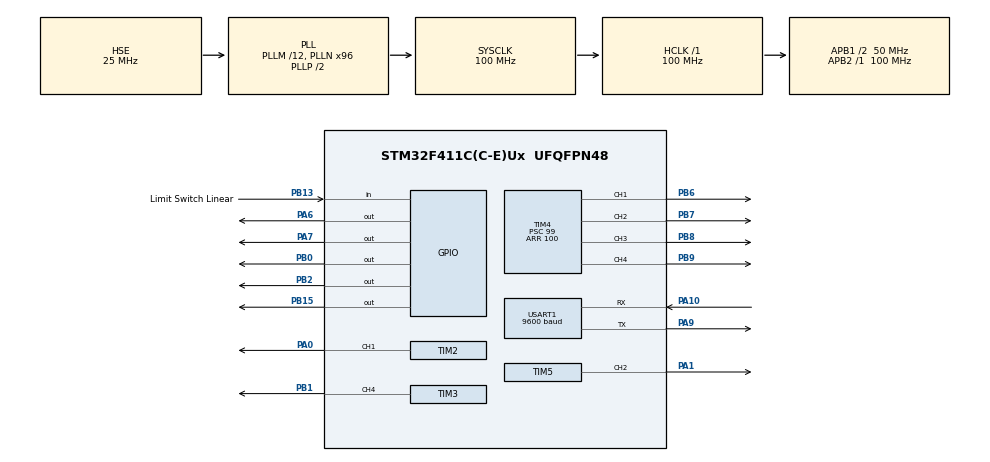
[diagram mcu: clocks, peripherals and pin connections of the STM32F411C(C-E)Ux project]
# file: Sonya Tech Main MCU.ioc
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Dma.Request0=USART1_RX
Dma.USART1_RX.0.Direction=DMA_PERIPH_TO_MEMORY
Dma.USART1_RX.0.FIFOMode=DMA_FIFOMODE_DISABLE
Dma.USART1_RX.0.Instance=DMA2_Stream2
Dma.USART1_RX.0.MemDataAlignment=DMA_MDATAALIGN_BYTE
Dma.USART1_RX.0.MemInc=DMA_MINC_ENABLE
Dma.USART1_RX.0.Mode=DMA_NORMAL
Dma.USART1_RX.0.PeriphDataAlignment=DMA_PDATAALIGN_BYTE
Dma.USART1_RX.0.PeriphInc=DMA_PINC_DISABLE
Dma.USART1_RX.0.Priority=DMA_PRIORITY_LOW
FREERTOS.Tasks01=defaultTask,0,128,StartDefaultTask,Default,NULL,Dynamic,NULL,NULL;LinearMotorTask,0,128,LinearMotor,Default,NULL,Dynamic,NULL,NULL;TopPanTask,0,128,TopPan,Default,NULL,Dynamic,NULL,NULL;PanTiltTask,0,128,PanTilt,Default,NULL,Dynamic,NULL,NULL;MainTask,0,128,Main,Default,NULL,Dynamic,NULL,NULL;MenuComm,0,128,MenuCommFunc,Default,NULL,Dynamic,NULL,NULL
FREERTOS.configUSE_NEWLIB_REENTRANT=1
Mcu.Family=STM32F4
Mcu.Name=STM32F411C(C-E)Ux
Mcu.Package=UFQFPN48
NVIC.DMA2_Stream2_IRQn=true\:5\:0\:false\:false\:true\:true\:false\:true\:true
NVIC.PriorityGroup=NVIC_PRIORITYGROUP_4
NVIC.TIM1_BRK_TIM9_IRQn=true\:15\:0\:false\:false\:true\:false\:false\:true\:true
NVIC.TimeBase=TIM1_BRK_TIM9_IRQn
NVIC.TimeBaseIP=TIM9
PA0-WKUP.Signal=S_TIM2_CH1_ETR
PA1.Signal=S_TIM5_CH2
PA10.Mode=Asynchronous
PA10.Signal=USART1_RX
PA13.Mode=Serial_Wire
PA13.Signal=SYS_JTMS-SWDIO
PA14.Mode=Serial_Wire
PA14.Signal=SYS_JTCK-SWCLK
PA6.Signal=GPIO_Output
PA7.GPIO_PuPd=GPIO_PULLDOWN
PA7.Signal=GPIO_Output
PA9.Mode=Asynchronous
PA9.Signal=USART1_TX
PB0.Signal=GPIO_Output
PB1.Signal=S_TIM3_CH4
PB13.GPIO_Label=Limit Switch Linear
PB13.GPIO_PuPd=GPIO_PULLDOWN
PB13.Signal=GPIO_Input
PB15.Signal=GPIO_Output
PB2.GPIO_PuPd=GPIO_PULLDOWN
PB2.Signal=GPIO_Output
PB6.Signal=S_TIM4_CH1
PB7.Signal=S_TIM4_CH2
PB8.Signal=S_TIM4_CH3
PB9.Signal=S_TIM4_CH4
PC14-OSC32_IN.Mode=LSE-External-Oscillator
PC14-OSC32_IN.Signal=RCC_OSC32_IN
PC15-OSC32_OUT.Mode=LSE-External-Oscillator
PC15-OSC32_OUT.Signal=RCC_OSC32_OUT
PH0\ -\ OSC_IN.Mode=HSE-External-Oscillator
PH0\ -\ OSC_IN.Signal=RCC_OSC_IN
PH1\ -\ OSC_OUT.Mode=HSE-External-Oscillator
PH1\ -\ OSC_OUT.Signal=RCC_OSC_OUT
ProjectManager.HeapSize=0x200
ProjectManager.StackSize=0x400
ProjectManager.TargetToolchain=STM32CubeIDE
RCC.48MHZClocksFreq_Value=50000000
RCC.AHBFreq_Value=100000000
RCC.APB1CLKDivider=RCC_HCLK_DIV2
RCC.APB1Freq_Value=50000000
RCC.APB1TimFreq_Value=100000000
RCC.APB2Freq_Value=100000000
RCC.APB2TimFreq_Value=100000000
RCC.CortexFreq_Value=100000000
RCC.HCLKFreq_Value=100000000
RCC.HSE_VALUE=25000000
RCC.HSI_VALUE=16000000
RCC.PLLM=12
RCC.PLLN=96
RCC.PLLSourceVirtual=RCC_PLLSOURCE_HSE
RCC.SYSCLKFreq_VALUE=100000000
RCC.SYSCLKSource=RCC_SYSCLKSOURCE_PLLCLK
RCC.VCOOutputFreq_Value=200000000
SH.S_TIM2_CH1_ETR.0=TIM2_CH1,PWM Generation1 CH1
SH.S_TIM3_CH4.0=TIM3_CH4,PWM Generation4 CH4
SH.S_TIM4_CH1.0=TIM4_CH1,PWM Generation1 CH1
SH.S_TIM4_CH2.0=TIM4_CH2,PWM Generation2 CH2
SH.S_TIM4_CH3.0=TIM4_CH3,PWM Generation3 CH3
SH.S_TIM4_CH4.0=TIM4_CH4,PWM Generation4 CH4
SH.S_TIM5_CH2.0=TIM5_CH2,PWM Generation2 CH2
TIM1.Period=65535
TIM1.Prescaler=99
TIM2.Channel-PWM\ Generation1\ CH1=TIM_CHANNEL_1
TIM2.Period=100
TIM2.Prescaler=99
TIM3.Channel-PWM\ Generation4\ CH4=TIM_CHANNEL_4
TIM3.Period=100
TIM3.Prescaler=99
TIM4.Channel-PWM\ Generation1\ CH1=TIM_CHANNEL_1
TIM4.Channel-PWM\ Generation2\ CH2=TIM_CHANNEL_2
TIM4.Channel-PWM\ Generation3\ CH3=TIM_CHANNEL_3
TIM4.Channel-PWM\ Generation4\ CH4=TIM_CHANNEL_4
TIM4.Period=100
TIM4.Prescaler=99
TIM5.Channel-PWM\ Generation2\ CH2=TIM_CHANNEL_2
TIM5.Period=100
TIM5.Prescaler=99
USART1.BaudRate=9600
USART1.VirtualMode=VM_ASYNC
VP_FREERTOS_VS_CMSIS_V1.Mode=CMSIS_V1
VP_SYS_VS_tim9.Mode=TIM9
VP_TIM1_VS_ClockSourceINT.Mode=Internal
VP_TIM2_VS_ClockSourceINT.Mode=Internal
board=custom

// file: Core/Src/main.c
/* USER CODE BEGIN Header */
/**
  ******************************************************************************
  * @file           : main.c
  * @brief          : Main program body
  ******************************************************************************
  * @attention
  *
  * Copyright (c) 2025 STMicroelectronics.
  * All rights reserved.
  *
  * This software is licensed under terms that can be found in the LICENSE file
  * in the root directory of this software component.
  * If no LICENSE file comes with this software, it is provided AS-IS.
  *
  ******************************************************************************
  */
/* USER CODE END Header */
#include "main.h"
#include "cmsis_os.h"

/* USER CODE BEGIN PD */

#define DIR_PIN_TOP_PAN GPIO_PIN_0
#define DIR_PORT_TOP_PAN GPIOB
#define STEP_PIN_TOP_PAN GPIO_PIN_1
#define STEP_PORT_TOP_PAN GPIOB

#define DIR_PIN_LINEAR GPIO_PIN_6
#define DIR_PORT_LINEAR GPIOA
#define STEP_PIN_LINEAR GPIO_PIN_7
#define STEP_PORT_LINEAR GPIOA

#define DIR_PIN_TILT GPIO_PIN_2
#define DIR_PORT_TILT GPIOB
#define STEP_PIN_TILT GPIO_PIN_15
#define STEP_PORT_TILT GPIOB

#define LIM_SWT_PORT GPIOB
#define LIM_SWT_PIN_LINEAR GPIO_PIN_13
#define LIM_SWT_PIN_TOP_PAN GPIO_PIN_14
#define LIM_SWT_PIN_TILT GPIO_PIN_15

/* USER CODE END PD */

TIM_HandleTypeDef htim1;
TIM_HandleTypeDef htim2;
TIM_HandleTypeDef htim3;
TIM_HandleTypeDef htim4;
TIM_HandleTypeDef htim5;

UART_HandleTypeDef huart1;
DMA_HandleTypeDef hdma_usart1_rx;

osThreadId defaultTaskHandle;
osThreadId LinearMotorTaskHandle;
osThreadId TopPanTaskHandle;
osThreadId PanTiltTaskHandle;
osThreadId MainTaskHandle;
osThreadId MenuCommHandle;

void SystemClock_Config(void);
static void MX_GPIO_Init(void);
static void MX_DMA_Init(void);
static void MX_TIM1_Init(void);
static void MX_TIM2_Init(void);
static void MX_TIM4_Init(void);
static void MX_TIM5_Init(void);
static void MX_USART1_UART_Init(void);
static void MX_TIM3_Init(void);
void StartDefaultTask(void const * argument);
void LinearMotor(void const * argument);
void TopPan(void const * argument);
void PanTilt(void const * argument);
void Main(void const * argument);
void MenuCommFunc(void const * argument);

int main(void)
{

  /* MCU Configuration--------------------------------------------------------*/

  /* Reset of all peripherals, Initializes the Flash interface and the Systick. */
  HAL_Init();

  /* Configure the system clock */
  SystemClock_Config();

  /* Initialize all configured peripherals */
  MX_GPIO_Init();
  MX_DMA_Init();
  MX_TIM1_Init();
  MX_TIM2_Init();
  MX_TIM4_Init();
  MX_TIM5_Init();
  MX_USART1_UART_Init();
  MX_TIM3_Init();
  /* USER CODE BEGIN 2 */

  HAL_GPIO_WritePin(GPIOB, GPIO_PIN_6,1); //EGG MOTOR INIT
  HAL_GPIO_WritePin(GPIOB, GPIO_PIN_7,1); //Onion MOTOR INIT
  HAL_GPIO_WritePin(GPIOB, GPIO_PIN_8,1); //Bell Pepper MOTOR INIT
  HAL_GPIO_WritePin(GPIOB, GPIO_PIN_9,1); //Ham MOTOR INIT
  HAL_GPIO_WritePin(GPIOA, GPIO_PIN_1,1); //Cheese MOTOR INIT

  HAL_TIM_Base_Start(&htim1);
  HAL_TIM_Base_Start(&htim2);

  /* USER CODE END 2 */

  /* Create the thread(s) */
  /* definition and creation of defaultTask */
  osThreadDef(defaultTask, StartDefaultTask, osPriorityNormal, 0, 128);
  defaultTaskHandle = osThreadCreate(osThread(defaultTask), NULL);

  /* definition and creation of LinearMotorTask */
  osThreadDef(LinearMotorTask, LinearMotor, osPriorityNormal, 0, 128);
  LinearMotorTaskHandle = osThreadCreate(osThread(LinearMotorTask), NULL);

  /* definition and creation of TopPanTask */
  osThreadDef(TopPanTask, TopPan, osPriorityNormal, 0, 128);
  TopPanTaskHandle = osThreadCreate(osThread(TopPanTask), NULL);

  /* definition and creation of PanTiltTask */
  osThreadDef(PanTiltTask, PanTilt, osPriorityNormal, 0, 128);
  PanTiltTaskHandle = osThreadCreate(osThread(PanTiltTask), NULL);

  /* definition and creation of MainTask */
  osThreadDef(MainTask, Main, osPriorityNormal, 0, 128);
  MainTaskHandle = osThreadCreate(osThread(MainTask), NULL);

  /* definition and creation of MenuComm */
  osThreadDef(MenuComm, MenuCommFunc, osPriorityNormal, 0, 128);
  MenuCommHandle = osThreadCreate(osThread(MenuComm), NULL);

  /* Start scheduler */
  osKernelStart();

  /* We should never get here as control is now taken by the scheduler */

  /* Infinite loop */
  while (1)
  {

  }
}

void SystemClock_Config(void)
{
  RCC_OscInitTypeDef RCC_OscInitStruct = {0};
  RCC_ClkInitTypeDef RCC_ClkInitStruct = {0};

  /** Configure the main internal regulator output voltage
  */
  __HAL_RCC_PWR_CLK_ENABLE();
  __HAL_PWR_VOLTAGESCALING_CONFIG(PWR_REGULATOR_VOLTAGE_SCALE1);

  /** Initializes the RCC Oscillators according to the specified parameters
  * in the RCC_OscInitTypeDef structure.
  */
  RCC_OscInitStruct.OscillatorType = RCC_OSCILLATORTYPE_HSE;
  RCC_OscInitStruct.HSEState = RCC_HSE_ON;
  RCC_OscInitStruct.PLL.PLLState = RCC_PLL_ON;
  RCC_OscInitStruct.PLL.PLLSource = RCC_PLLSOURCE_HSE;
  RCC_OscInitStruct.PLL.PLLM = 12;
  RCC_OscInitStruct.PLL.PLLN = 96;
  RCC_OscInitStruct.PLL.PLLP = RCC_PLLP_DIV2;
  RCC_OscInitStruct.PLL.PLLQ = 4;
  if (HAL_RCC_OscConfig(&RCC_OscInitStruct) != HAL_OK)
  {
    Error_Handler();
  }

  /** Initializes the CPU, AHB and APB buses clocks
  */
  RCC_ClkInitStruct.ClockType = RCC_CLOCKTYPE_HCLK|RCC_CLOCKTYPE_SYSCLK
                              |RCC_CLOCKTYPE_PCLK1|RCC_CLOCKTYPE_PCLK2;
  RCC_ClkInitStruct.SYSCLKSource = RCC_SYSCLKSOURCE_PLLCLK;
  RCC_ClkInitStruct.AHBCLKDivider = RCC_SYSCLK_DIV1;
  RCC_ClkInitStruct.APB1CLKDivider = RCC_HCLK_DIV2;
  RCC_ClkInitStruct.APB2CLKDivider = RCC_HCLK_DIV1;

  if (HAL_RCC_ClockConfig(&RCC_ClkInitStruct, FLASH_LATENCY_3) != HAL_OK)
  {
    Error_Handler();
  }
}

static void MX_TIM1_Init(void)
{

  TIM_ClockConfigTypeDef sClockSourceConfig = {0};
  TIM_MasterConfigTypeDef sMasterConfig = {0};

  htim1.Instance = TIM1;
  htim1.Init.Prescaler = 99;
  htim1.Init.CounterMode = TIM_COUNTERMODE_UP;
  htim1.Init.Period = 65535;
  htim1.Init.ClockDivision = TIM_CLOCKDIVISION_DIV1;
  htim1.Init.RepetitionCounter = 0;
  htim1.Init.AutoReloadPreload = TIM_AUTORELOAD_PRELOAD_DISABLE;
  if (HAL_TIM_Base_Init(&htim1) != HAL_OK)
  {
    Error_Handler();
  }
  sClockSourceConfig.ClockSource = TIM_CLOCKSOURCE_INTERNAL;
  if (HAL_TIM_ConfigClockSource(&htim1, &sClockSourceConfig) != HAL_OK)
  {
    Error_Handler();
  }
  sMasterConfig.MasterOutputTrigger = TIM_TRGO_RESET;
  sMasterConfig.MasterSlaveMode = TIM_MASTERSLAVEMODE_DISABLE;
  if (HAL_TIMEx_MasterConfigSynchronization(&htim1, &sMasterConfig) != HAL_OK)
  {
    Error_Handler();
  }

}

static void MX_TIM2_Init(void)
{

  TIM_ClockConfigTypeDef sClockSourceConfig = {0};
  TIM_MasterConfigTypeDef sMasterConfig = {0};
  TIM_OC_InitTypeDef sConfigOC = {0};

  htim2.Instance = TIM2;
  htim2.Init.Prescaler = 99;
  htim2.Init.CounterMode = TIM_COUNTERMODE_UP;
  htim2.Init.Period = 100;
  htim2.Init.ClockDivision = TIM_CLOCKDIVISION_DIV1;
  htim2.Init.AutoReloadPreload = TIM_AUTORELOAD_PRELOAD_DISABLE;
  if (HAL_TIM_Base_Init(&htim2) != HAL_OK)
  {
    Error_Handler();
  }
  sClockSourceConfig.ClockSource = TIM_CLOCKSOURCE_INTERNAL;
  if (HAL_TIM_ConfigClockSource(&htim2, &sClockSourceConfig) != HAL_OK)
  {
    Error_Handler();
  }
  if (HAL_TIM_PWM_Init(&htim2) != HAL_OK)
  {
    Error_Handler();
  }
  sMasterConfig.MasterOutputTrigger = TIM_TRGO_RESET;
  sMasterConfig.MasterSlaveMode = TIM_MASTERSLAVEMODE_DISABLE;
  if (HAL_TIMEx_MasterConfigSynchronization(&htim2, &sMasterConfig) != HAL_OK)
  {
    Error_Handler();
  }
  sConfigOC.OCMode = TIM_OCMODE_PWM1;
  sConfigOC.Pulse = 0;
  sConfigOC.OCPolarity = TIM_OCPOLARITY_HIGH;
  sConfigOC.OCFastMode = TIM_OCFAST_DISABLE;
  if (HAL_TIM_PWM_ConfigChannel(&htim2, &sConfigOC, TIM_CHANNEL_1) != HAL_OK)
  {
    Error_Handler();
  }
  HAL_TIM_MspPostInit(&htim2);

}

static void MX_TIM3_Init(void)
{

  TIM_MasterConfigTypeDef sMasterConfig = {0};
  TIM_OC_InitTypeDef sConfigOC = {0};

  htim3.Instance = TIM3;
  htim3.Init.Prescaler = 99;
  htim3.Init.CounterMode = TIM_COUNTERMODE_UP;
  htim3.Init.Period = 100;
  htim3.Init.ClockDivision = TIM_CLOCKDIVISION_DIV1;
  htim3.Init.AutoReloadPreload = TIM_AUTORELOAD_PRELOAD_DISABLE;
  if (HAL_TIM_PWM_Init(&htim3) != HAL_OK)
  {
    Error_Handler();
  }
  sMasterConfig.MasterOutputTrigger = TIM_TRGO_RESET;
  sMasterConfig.MasterSlaveMode = TIM_MASTERSLAVEMODE_DISABLE;
  if (HAL_TIMEx_MasterConfigSynchronization(&htim3, &sMasterConfig) != HAL_OK)
  {
    Error_Handler();
  }
  sConfigOC.OCMode = TIM_OCMODE_PWM1;
  sConfigOC.Pulse = 0;
  sConfigOC.OCPolarity = TIM_OCPOLARITY_HIGH;
  sConfigOC.OCFastMode = TIM_OCFAST_DISABLE;
  if (HAL_TIM_PWM_ConfigChannel(&htim3, &sConfigOC, TIM_CHANNEL_4) != HAL_OK)
  {
    Error_Handler();
  }
  HAL_TIM_MspPostInit(&htim3);

}

static void MX_TIM4_Init(void)
{

  TIM_MasterConfigTypeDef sMasterConfig = {0};
  TIM_OC_InitTypeDef sConfigOC = {0};

  htim4.Instance = TIM4;
  htim4.Init.Prescaler = 99;
  htim4.Init.CounterMode = TIM_COUNTERMODE_UP;
  htim4.Init.Period = 100;
  htim4.Init.ClockDivision = TIM_CLOCKDIVISION_DIV1;
  htim4.Init.AutoReloadPreload = TIM_AUTORELOAD_PRELOAD_DISABLE;
  if (HAL_TIM_PWM_Init(&htim4) != HAL_OK)
  {
    Error_Handler();
  }
  sMasterConfig.MasterOutputTrigger = TIM_TRGO_RESET;
  sMasterConfig.MasterSlaveMode = TIM_MASTERSLAVEMODE_DISABLE;
  if (HAL_TIMEx_MasterConfigSynchronization(&htim4, &sMasterConfig) != HAL_OK)
  {
    Error_Handler();
  }
  sConfigOC.OCMode = TIM_OCMODE_PWM1;
  sConfigOC.Pulse = 0;
  sConfigOC.OCPolarity = TIM_OCPOLARITY_HIGH;
  sConfigOC.OCFastMode = TIM_OCFAST_DISABLE;
  if (HAL_TIM_PWM_ConfigChannel(&htim4, &sConfigOC, TIM_CHANNEL_1) != HAL_OK)
  {
    Error_Handler();
  }
  if (HAL_TIM_PWM_ConfigChannel(&htim4, &sConfigOC, TIM_CHANNEL_2) != HAL_OK)
  {
    Error_Handler();
  }
  if (HAL_TIM_PWM_ConfigChannel(&htim4, &sConfigOC, TIM_CHANNEL_3) != HAL_OK)
  {
    Error_Handler();
  }
  if (HAL_TIM_PWM_ConfigChannel(&htim4, &sConfigOC, TIM_CHANNEL_4) != HAL_OK)
  {
    Error_Handler();
  }
  HAL_TIM_MspPostInit(&htim4);

}

static void MX_TIM5_Init(void)
{

  TIM_MasterConfigTypeDef sMasterConfig = {0};
  TIM_OC_InitTypeDef sConfigOC = {0};

  htim5.Instance = TIM5;
  htim5.Init.Prescaler = 99;
  htim5.Init.CounterMode = TIM_COUNTERMODE_UP;
  htim5.Init.Period = 100;
  htim5.Init.ClockDivision = TIM_CLOCKDIVISION_DIV1;
  htim5.Init.AutoReloadPreload = TIM_AUTORELOAD_PRELOAD_DISABLE;
  if (HAL_TIM_PWM_Init(&htim5) != HAL_OK)
  {
    Error_Handler();
  }
  sMasterConfig.MasterOutputTrigger = TIM_TRGO_RESET;
  sMasterConfig.MasterSlaveMode = TIM_MASTERSLAVEMODE_DISABLE;
  if (HAL_TIMEx_MasterConfigSynchronization(&htim5, &sMasterConfig) != HAL_OK)
  {
    Error_Handler();
  }
  sConfigOC.OCMode = TIM_OCMODE_PWM1;
  sConfigOC.Pulse = 0;
  sConfigOC.OCPolarity = TIM_OCPOLARITY_HIGH;
  sConfigOC.OCFastMode = TIM_OCFAST_DISABLE;
  if (HAL_TIM_PWM_ConfigChannel(&htim5, &sConfigOC, TIM_CHANNEL_2) != HAL_OK)
  {
    Error_Handler();
  }
  HAL_TIM_MspPostInit(&htim5);

}

static void MX_USART1_UART_Init(void)
{

  huart1.Instance = USART1;
  huart1.Init.BaudRate = 9600;
  huart1.Init.WordLength = UART_WORDLENGTH_8B;
  huart1.Init.StopBits = UART_STOPBITS_1;
  huart1.Init.Parity = UART_PARITY_NONE;
  huart1.Init.Mode = UART_MODE_TX_RX;
  huart1.Init.HwFlowCtl = UART_HWCONTROL_NONE;
  huart1.Init.OverSampling = UART_OVERSAMPLING_16;
  if (HAL_UART_Init(&huart1) != HAL_OK)
  {
    Error_Handler();
  }

}

static void MX_DMA_Init(void)
{

  /* DMA controller clock enable */
  __HAL_RCC_DMA2_CLK_ENABLE();

  /* DMA interrupt init */
  /* DMA2_Stream2_IRQn interrupt configuration */
  HAL_NVIC_SetPriority(DMA2_Stream2_IRQn, 5, 0);
  HAL_NVIC_EnableIRQ(DMA2_Stream2_IRQn);

}

static void MX_GPIO_Init(void)
{
  GPIO_InitTypeDef GPIO_InitStruct = {0};

  /* GPIO Ports Clock Enable */
  __HAL_RCC_GPIOC_CLK_ENABLE();
  __HAL_RCC_GPIOH_CLK_ENABLE();
  __HAL_RCC_GPIOA_CLK_ENABLE();
  __HAL_RCC_GPIOB_CLK_ENABLE();

  /*Configure GPIO pin Output Level */
  HAL_GPIO_WritePin(GPIOA, GPIO_PIN_6|GPIO_PIN_7, GPIO_PIN_RESET);

  /*Configure GPIO pin Output Level */
  HAL_GPIO_WritePin(GPIOB, GPIO_PIN_0|GPIO_PIN_2|GPIO_PIN_15, GPIO_PIN_RESET);

  /*Configure GPIO pin : PA6 */
  GPIO_InitStruct.Pin = GPIO_PIN_6;
  GPIO_InitStruct.Mode = GPIO_MODE_OUTPUT_PP;
  GPIO_InitStruct.Pull = GPIO_NOPULL;
  GPIO_InitStruct.Speed = GPIO_SPEED_FREQ_LOW;
  HAL_GPIO_Init(GPIOA, &GPIO_InitStruct);

  /*Configure GPIO pin : PA7 */
  GPIO_InitStruct.Pin = GPIO_PIN_7;
  GPIO_InitStruct.Mode = GPIO_MODE_OUTPUT_PP;
  GPIO_InitStruct.Pull = GPIO_PULLDOWN;
  GPIO_InitStruct.Speed = GPIO_SPEED_FREQ_LOW;
  HAL_GPIO_Init(GPIOA, &GPIO_InitStruct);

  /*Configure GPIO pins : PB0 PB15 */
  GPIO_InitStruct.Pin = GPIO_PIN_0|GPIO_PIN_15;
  GPIO_InitStruct.Mode = GPIO_MODE_OUTPUT_PP;
  GPIO_InitStruct.Pull = GPIO_NOPULL;
  GPIO_InitStruct.Speed = GPIO_SPEED_FREQ_LOW;
  HAL_GPIO_Init(GPIOB, &GPIO_InitStruct);

  /*Configure GPIO pin : PB2 */
  GPIO_InitStruct.Pin = GPIO_PIN_2;
  GPIO_InitStruct.Mode = GPIO_MODE_OUTPUT_PP;
  GPIO_InitStruct.Pull = GPIO_PULLDOWN;
  GPIO_InitStruct.Speed = GPIO_SPEED_FREQ_LOW;
  HAL_GPIO_Init(GPIOB, &GPIO_InitStruct);

  /*Configure GPIO pin : Limit_Switch_Linear_Pin */
  GPIO_InitStruct.Pin = Limit_Switch_Linear_Pin;
  GPIO_InitStruct.Mode = GPIO_MODE_INPUT;
  GPIO_InitStruct.Pull = GPIO_PULLDOWN;
  HAL_GPIO_Init(Limit_Switch_Linear_GPIO_Port, &GPIO_InitStruct);

}

/* USER CODE BEGIN 4 */

#define LINEAR_STEP_PER_IN 634
#define TOP_PAN_STEP_PER_IN 725
#define TILT_STEP_PER_IN 100

int triggerLinear = 0;
int triggerTopPan = 0;
int triggerTilt = 0;

int linearDist = 31;

int linearLimitSwtch = 0;

int posLinear = 0;  // 0->Base , 1->Right , 2->Slow return to base
int posTopPan = 0;  // 0->Top , 1->Bottom
int posTilt = 0;    // 0->Normal , 1->Tilt

/***********Menu Variables*******/////////////
char rx_char;
char inputBuffer[UART_BUFFER_SIZE];
int idx = 0;
int menu[MAX_ARRAY_SIZE] = {0,0,8000,8000,8000,0,12000,0,0,0,0}; // start, ingrToggle, ingr1, ingr2, ingr3, ingr4, ingr5, stepTopPan, stepLinear, stepTilt, stepperCommand

void microDelay1 (uint16_t delay)
{
  __HAL_TIM_SET_COUNTER(&htim1, 0);
  while (__HAL_TIM_GET_COUNTER(&htim1) < delay);
}

// micro seconds delay for motor2
void microDelay2 (uint16_t delay)
{
  __HAL_TIM_SET_COUNTER(&htim2, 0);
  while (__HAL_TIM_GET_COUNTER(&htim2) < delay);
}

void stepLinear (int steps, int direction, uint16_t delay)
{
  //int x;
  /*if (direction <= 0)
    HAL_GPIO_WritePin(DIR_PORT_LINEAR, DIR_PIN_LINEAR, 1);
  else
    HAL_GPIO_WritePin(DIR_PORT_LINEAR, DIR_PIN_LINEAR, 0);
  for(x=0; x<steps; x=x+1)
  {
    HAL_GPIO_WritePin(STEP_PORT_LINEAR, STEP_PIN_LINEAR, 1);
    microDelay1(delay);
    HAL_GPIO_WritePin(STEP_PORT_LINEAR, STEP_PIN_LINEAR, 0);
    microDelay1(delay);
  }
  */
  if (direction <= 0)
    {
      HAL_GPIO_WritePin(GPIOB, GPIO_PIN_0, 1);
      HAL_GPIO_WritePin(GPIOA, GPIO_PIN_6, 0);
    }
  else {
    HAL_GPIO_WritePin(GPIOB, GPIO_PIN_0, 0);
   HAL_GPIO_WritePin(GPIOA, GPIO_PIN_6, 1);
  }

  TIM2->CCR1 = delay;
	HAL_TIM_PWM_Start(&htim2, TIM_CHANNEL_1);

  osDelay(500*steps);

  TIM2->CCR1 = 0;
	HAL_TIM_PWM_Start(&htim2, TIM_CHANNEL_1);

}

void stepTopPan (float steps, int direction, uint16_t delay)
{
  //float x;
  if (direction <= 0)
    {
      HAL_GPIO_WritePin(GPIOB, GPIO_PIN_0, 1);
      HAL_GPIO_WritePin(GPIOA, GPIO_PIN_6, 0);
    }
  else {
    HAL_GPIO_WritePin(GPIOB, GPIO_PIN_0, 0);
   HAL_GPIO_WritePin(GPIOA, GPIO_PIN_6, 1);
  }

  TIM3->CCR4 = delay;
	HAL_TIM_PWM_Start(&htim3, TIM_CHANNEL_4);

  osDelay(500*steps);

  TIM3->CCR4 = 0;
	HAL_TIM_PWM_Start(&htim3, TIM_CHANNEL_4);
}

void stepTilt (int steps, int direction, uint16_t delay)
{
  int x;
  if (direction <= 0)
    HAL_GPIO_WritePin(DIR_PORT_TILT, DIR_PIN_TILT, GPIO_PIN_SET);
  else
    HAL_GPIO_WritePin(DIR_PORT_TILT, DIR_PIN_TILT, GPIO_PIN_RESET);
  for(x=0; x<steps; x=x+1)
  {
    HAL_GPIO_WritePin(STEP_PORT_TILT, STEP_PIN_TILT, GPIO_PIN_SET);
    microDelay1(delay);
    HAL_GPIO_WritePin(STEP_PORT_TILT, STEP_PIN_TILT, GPIO_PIN_RESET);
    microDelay1(delay);
  }
}

void ingr5(int speed)
{
   TIM4->CCR3 = speed;
	HAL_TIM_PWM_Start(&htim4, TIM_CHANNEL_3);
}

void ingr2(int speed)
{
	TIM4->CCR2 = speed;
	HAL_TIM_PWM_Start(&htim4, TIM_CHANNEL_2);
}

void ingr4(int speed)
{
	TIM4->CCR1 = speed;
   HAL_TIM_PWM_Start(&htim4, TIM_CHANNEL_1);

}

void ingr3(int speed)
{
	TIM4->CCR4 = speed;
	HAL_TIM_PWM_Start(&htim4, TIM_CHANNEL_4);
}

void ingr1(int speed)
{
	TIM5->CCR2 = speed;
	HAL_TIM_PWM_Start(&htim5, TIM_CHANNEL_2);
}

/* USER CODE END 4 */

void StartDefaultTask(void const * argument)
{
  for(;;)
  {
    osDelay(1);
  }
}

void LinearMotor(void const * argument)
{
  /* USER CODE BEGIN LinearMotor */
  /* Infinite loop */
  for(;;)
  {
	  if (triggerLinear == 1)
	  {
		  if (posLinear == 0)
		  {

			  linearLimitSwtch = HAL_GPIO_ReadPin (LIM_SWT_PORT, LIM_SWT_PIN_LINEAR);
			  while (!(linearLimitSwtch))
			  {
				  linearLimitSwtch = HAL_GPIO_ReadPin (LIM_SWT_PORT, LIM_SWT_PIN_LINEAR);
				  //stepLinear(50,1,600);
          stepLinear(0.5,0,80);
			  }
        triggerLinear = 0;

		  }

		  else if (posLinear == 1)
		  {
        //stepLinear(15.5,1,100);

			  //stepLinear(linearDist*LINEAR_STEP_PER_IN, 0, 400);

			  triggerLinear = 0;
		  }

		  else if (posLinear == 2)
		  {

        HAL_GPIO_WritePin(GPIOA, GPIO_PIN_7, 1);

			  ingr1(100);
			  osDelay(menu[2]);
		    ingr1(0);

			  stepLinear(4,0,80);
			  triggerLinear = 0;

			  ingr2(100);
			  osDelay(menu[3]);
			  ingr2(0);

			  stepLinear(4,0,80);
			  triggerLinear = 0;

			  ingr3(100);
			  osDelay(menu[4]);
			  ingr3(0);

        stepLinear(4,0,80);
			  triggerLinear = 0;

			  ingr4(100);
			  osDelay(menu[5]);
			  ingr4(0);

        stepLinear(4,0,80);
			  triggerLinear = 0;

			  ingr5(100);
			  osDelay(menu[6]);
			  ingr5(0);
        HAL_GPIO_WritePin(GPIOA, GPIO_PIN_7, 0);

			  stepLinear(8,0,100);

			  posTopPan = 1;
			  triggerTopPan = 1;

			  posLinear = 0;
			  triggerLinear = 1;

		  }

	  }

    osDelay(1);
  }
  /* USER CODE END LinearMotor */
}

void TopPan(void const * argument)
{
  /* USER CODE BEGIN TopPan */
  /* Infinite loop */
  for(;;)
  {
	  if (triggerTopPan == 1)
	  {
		  if (posTopPan == 0)
		  {
			  /*while(!(HAL_GPIO_ReadPin (LIM_SWT_PORT, LIM_SWT_PIN_TOP_PAN)))
			  {
				  stepTopPan(20,0,1500);
			  }
			  */
			  stepTopPan(5.8,1,100);

			  triggerTopPan = 0;
		  }

		  else if (posTopPan == 1)
		  {
			  stepTopPan(5.8,0,100);
			  triggerTopPan = 0;
		  }
	  }
    osDelay(1);
  }
  /* USER CODE END TopPan */
}

void PanTilt(void const * argument)
{
  /* USER CODE BEGIN PanTilt */
  /* Infinite loop */
  for(;;)
  {
	  if (triggerTilt == 1)
	  	  {
	  		  if (posTilt == 0)
	  		  {
	  			    stepTilt(16*TILT_STEP_PER_IN,0,800);
              triggerTilt = 0;
	  		  }

	  		  else if (posTilt == 1)
	  		  {
	  			  stepTilt(16*TILT_STEP_PER_IN,1,800);
            triggerTilt = 0;
	  		  }
	  	  }
    osDelay(1);
  }
  /* USER CODE END PanTilt */
}

void Main(void const * argument)
{
  /* USER CODE BEGIN Main */
	  //**** HOMING ******//

	linearLimitSwtch = HAL_GPIO_ReadPin (LIM_SWT_PORT, LIM_SWT_PIN_LINEAR);

	if(!linearLimitSwtch)
	{
	  posLinear = 0;
	  triggerLinear = 1;
	}
	  while(!linearLimitSwtch)
      {}

	  //**** DONE HOMING ******//

  /* Infinite loop */
  for(;;)
  {

    if(menu[0] == 1)
    {
    	menu[0] = 0;
        stepLinear(18.7,1,100);

        posLinear = 2;
        triggerLinear = 1;

        osDelay(52000 + menu[2] + menu[3] + menu[4] + menu[5] + menu[6]);

        posTopPan = 0;
        triggerTopPan = 1;

        osDelay(3000);

        posTilt = 1;
        triggerTilt = 1;

        osDelay(5000);

        posTilt = 0;
        triggerTilt = 1;

    }

    else if(menu[1] == 1)
    {
    HAL_GPIO_WritePin(GPIOA, GPIO_PIN_7, 1);
    	menu[1] = 0;
    	ingr1(100);
    	ingr2(100);
    	ingr3(100);
      ingr4(100);
      ingr5(100);
    	osDelay(5000);
    	ingr1(0);
		  ingr2(0);
		  ingr3(0);
      ingr4(0);
      ingr5(0);
     HAL_GPIO_WritePin(GPIOA, GPIO_PIN_7, 0);

    }

    else if(menu[10] > 0)
    {
      if(menu[7] != 0)
      {
        //stepTopPan(abs(menu[7])* TOP_PAN_STEP_PER_IN, menu[7],800 );
        stepTopPan(abs(menu[7]),menu[7],100);
        menu[7] = 0; // Reset top pan command
      }
      else if (menu[8] != 0)
      {
        //stepLinear(abs(menu[8])* LINEAR_STEP_PER_IN, menu[8], 800);
        stepLinear(abs(menu[8]),menu[8],100);
        menu[8] = 0; // Reset linear command
      }
      else if (menu[9] != 0)
      {
        stepTilt(abs(menu[9])* TILT_STEP_PER_IN, menu[9], 800);
        menu[9] = 0; // Reset tilt command
      }

      menu[10] = 0; // Reset stepper command
    }

  }
  /* USER CODE END Main */
}

void MenuCommFunc(void const * argument)
{
  /* USER CODE BEGIN MenuCommFunc */
  /* Infinite loop */

  for(;;)
  {
	  if (HAL_UART_Receive(&huart1, (uint8_t *)&rx_char, 1, 1000) == HAL_OK) {
	              if (rx_char == '\n') {
	                  inputBuffer[idx] = '\0'; // null-terminate

	                  // Parse input like "5:123"
	                  char *sep = strchr(inputBuffer, ':');
	                  if (sep != NULL) {
	                      *sep = '\0'; // split
	                       int indexArr = atoi(inputBuffer);
	                       int value = atoi(sep + 1);

	                      if (indexArr >= 0 && indexArr < MAX_ARRAY_SIZE) {
	                          menu[indexArr] = value;
	                      }
	                  }

	                  idx = 0; // reset buffer
	              } else if (idx < UART_BUFFER_SIZE - 1) {
	                  inputBuffer[idx++] = rx_char;
	              }
	          }
	      }
    osDelay(1);
  /* USER CODE END MenuCommFunc */
}

void HAL_TIM_PeriodElapsedCallback(TIM_HandleTypeDef *htim)
{
  if (htim->Instance == TIM9) {
    HAL_IncTick();
  }
}

void Error_Handler(void)
{
  __disable_irq();
  while (1)
  {
  }
}
